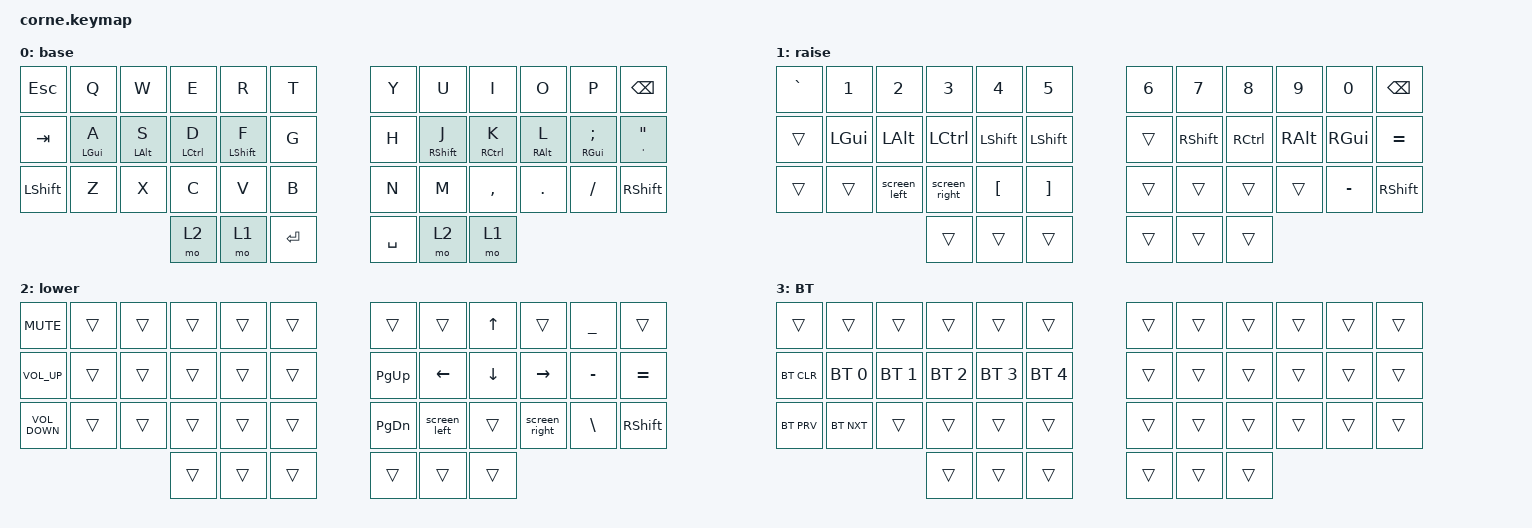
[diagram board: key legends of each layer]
/*
 * Copyright (c) 2020 The ZMK Contributors
 *
 * SPDX-License-Identifier: MIT
 */

#include <behaviors.dtsi>
#include <dt-bindings/zmk/keys.h>
#include <dt-bindings/zmk/bt.h>

/ {
    behaviors {
        hm: homerow_mods {
            compatible = "zmk,behavior-hold-tap";
            label = "HOMEROW_MODS";
            #binding-cells = <2>;
            tapping-term-ms = <2020>;
            quick-tap-ms = <0>;
            flavor = "tap-preferred";
            bindings =
                <&kp>,
                <&kp>;
        };
    };

    combos {
        compatible = "zmk,combos";

        tab {
            bindings = <&kp TAB>;
            key-positions = <13 14>;
        };

        delete {
            bindings = <&kp BACKSPACE>;
            key-positions = <10 9>;
        };

        mo3l {
            bindings = <&mo 3>;
            key-positions = <36 37>;
        };

        mo3r {
            bindings = <&mo 3>;
            key-positions = <40 41>;
        };
    };

    macros {
        screen_left: screen_left {
            compatible = "zmk,behavior-macro";
            label = "screen_left";
            #binding-cells = <0>;
            bindings =
                <&macro_press>,
                <&kp LCTRL>,
                <&macro_tap>,
                <&kp LEFT>,
                <&macro_release>,
                <&kp LCTRL>;
        };
        screen_right: screen_right {
            compatible = "zmk,behavior-macro";
            label = "screen_right";
            #binding-cells = <0>;
            bindings =
                <&macro_press>,
                <&kp LCTRL>,
                <&macro_tap>,
                <&kp RIGHT>,
                <&macro_release>,
                <&kp LCTRL>;
        };
    };

    keymap {
        compatible = "zmk,keymap";

        base {
            bindings = <
    &kp ESC       &kp Q       &kp W        &kp E         &kp R      &kp T              &kp Y         &kp U        &kp I       &kp O          &kp P           &kp BACKSPACE
    &kp TAB  &hm LGUI A  &hm LALT S  &hm LCTRL D  &hm LSHIFT F      &kp G              &kp H  &hm RSHIFT J  &hm RCTRL K  &hm RALT L  &hm RGUI SEMI  &hm APOS DOUBLE_QUOTES
 &kp LSHIFT       &kp Z       &kp X        &kp C         &kp V      &kp B              &kp N         &kp M    &kp COMMA     &kp DOT       &kp FSLH              &kp RSHIFT
                                           &mo 2         &mo 1  &kp ENTER          &kp SPACE         &mo 2        &mo 1
            >;
        };

        raise {
            bindings = <
 &kp GRAVE    &kp N1        &kp N2         &kp N3            &kp N4             &kp N5          &kp N6     &kp N7     &kp N8         &kp N9         &kp N0  &kp BACKSPACE
    &trans  &kp LGUI  &kp LEFT_ALT      &kp LCTRL    &kp LEFT_SHIFT     &kp LEFT_SHIFT          &trans  &kp RSHFT  &kp RCTRL  &kp RIGHT_ALT  &kp RIGHT_GUI      &kp EQUAL
    &trans    &trans  &screen_left  &screen_right  &kp LEFT_BRACKET  &kp RIGHT_BRACKET          &trans     &trans     &trans         &trans      &kp MINUS     &kp RSHIFT
                                           &trans            &trans             &trans          &trans     &trans     &trans
            >;
        };

        lower {
            bindings = <
        &kp K_MUTE  &trans  &trans  &trans  &trans  &trans             &trans        &trans    &kp UP         &trans  &kp UNDERSCORE           &trans
   &kp K_VOLUME_UP  &trans  &trans  &trans  &trans  &trans          &kp PG_UP      &kp LEFT  &kp DOWN      &kp RIGHT       &kp MINUS        &kp EQUAL
 &kp K_VOLUME_DOWN  &trans  &trans  &trans  &trans  &trans          &kp PG_DN  &screen_left    &trans  &screen_right   &kp BACKSLASH  &kp RIGHT_SHIFT
                                    &trans  &trans  &trans             &trans        &trans    &trans
            >;
        };

        BT {
            bindings = <
     &trans        &trans        &trans        &trans        &trans        &trans          &trans  &trans  &trans  &trans  &trans  &trans
 &bt BT_CLR  &bt BT_SEL 0  &bt BT_SEL 1  &bt BT_SEL 2  &bt BT_SEL 3  &bt BT_SEL 4          &trans  &trans  &trans  &trans  &trans  &trans
 &bt BT_PRV    &bt BT_NXT        &trans        &trans        &trans        &trans          &trans  &trans  &trans  &trans  &trans  &trans
                                               &trans        &trans        &trans          &trans  &trans  &trans
            >;
        };
    };
};
